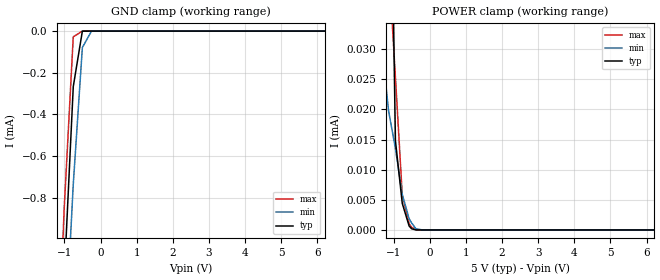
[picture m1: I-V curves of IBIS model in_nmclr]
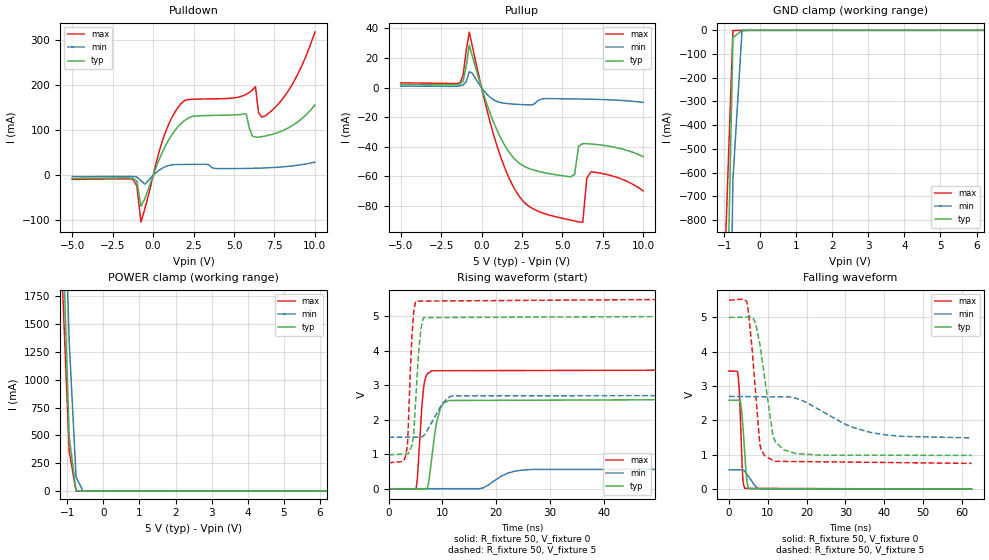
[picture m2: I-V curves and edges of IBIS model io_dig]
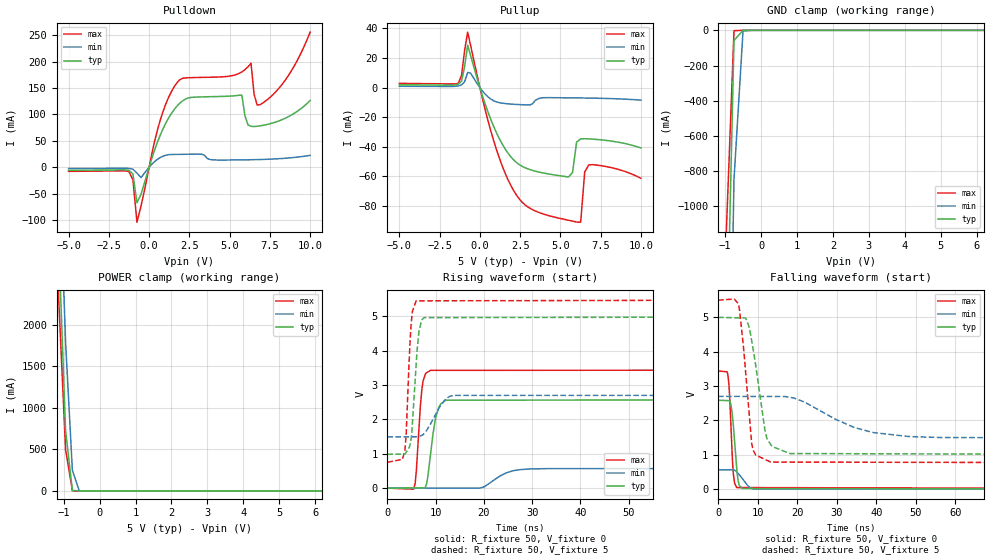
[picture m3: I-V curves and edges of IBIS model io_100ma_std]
|   Microchip Technology, Incorporated
|   PIC16F15356
[IBIS Ver]   4.2
[Date]   October 21, 2020
[File Name]   PIC16F15356_uqfn28.ibs
[File rev]   1.0
[SOURCE]   File originated at Microchip
[Notes]   The following is an IBIS list for the PIC16F15356.
|			F = Voltage Range 2.7V, 5V, 5.5V
|   -All test data contained in this file is derived
|   from hspice simulation. Simulations are made with
|   typical process model. Linear extrapolation is
|   used to get to the endpoints where spice model is
|   not well behaved. Customer should be aware that
|   accuracy is not warranted under process variation
|   and extrapolated area.
|   -The package model information is from Amkor
|			Technology
|   -Revision History
|   Version Date   Author
|   1.0   October 2020   LS
[Disclaimer]   Property of Microchip technology Incorporated.
|   Unauthorized reproduction and/or distribution is strictly
|   restricted.  All rights reserved.
|   The model provided is not warranted as fully representing
|   all of the operating characteristics and specifications
|   of all the semiconductor products related to the model.
|   Microchip does not assume any liability for the proper
|   functioning of these IBIS models in your design or for
|   any resulting application.
|   Microchip does not assume any liability for infringement
|   of patents, copyrights or intellectual property rights
|   resulting from your use of these IBIS models.
|   Microchip reserves the right to make changes without notice
|   to these IBIS models to improve reliability, function, or
|   design.
|   Please be aware that your receipt and use of the IBIS
|   information provided shall serve as acceptance of these
|   terms and conditions.  If you do not accept these terms,
|   you should return or destroy the IBIS model and any other
|   accompanying information immediately.
[Component] PIC16F15356
[manufacturer] MICROCHIP TECHNOLOGY Inc.
[Package]
R_pkg   2.7m   2.2m   3.2m
L_pkg   0.098nH  0.085nH 0.11nH
C_pkg   0.141pF 0.133pF  0.149pF
[Pin]   signal_name   model_name   R_pin   L_pin   C_pin
1   RA2   io_dig
2   RA3   io_dig
3   RA4   io_dig
4   RA5   io_dig
5   VSS   GND
6   RA7   io_dig
7   RA6   io_osc2
8   RC0   io_dig
9   RC1   io_dig
10   RC2   io_100ma
11   RC3   io_dig
12   RC4   io_dig
13   RC5   io_100ma
14   RC6   io_100ma
15   RC7   io_dig
16   VSS   GND
17   VDD   POWER
18   RB0   io_dig
19   RB1   io_dig
20   RB2   io_dig
21   RB3   io_dig
22   RB4   io_dig
23   RB5   io_dig
24   RB6   io_dig
25   RB7   io_dig
26   RE3   in_nmclr
27   RA0   io_dig
28   RA1   io_dig
|[Package Model]   There is an optional, fairly complex Package Modeling
|   section here in the file if you want it.  You will have
|   to add it yourself, because SiliconSmart has no
|   notion of packaging.  Please see the IBIS Specification
|   for details.
[Model Selector] io_100ma
| Model Description
io_100ma_std   Low Driver
io_100ma_hi   High Driver
| Models and submodels in the file (5): in_nmclr (Input), io_dig (I/O), io_100ma_std (I/O), io_100ma_hi (I/O), io_osc2 (I/O)
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[Model] in_nmclr
Model_type Input
Vinl  =  0.8
Vinh  =  2
| Capacitance   typ   min   max
C_comp   1.123517141493786e-12   1.10944024417402e-12   1.133305475694338e-12
[Model Spec]
| Subparameter   typ   min   max
Vinl   1.5   0.81   1.65
Vinh   3.6   1.89   3.85
| Variables   typ   min   max
[GND Clamp Reference]   0   0   0
[POWER Clamp Reference]   5   2.7   5.5
[Pulldown Reference]   0   0   0
[Pullup Reference]   5   2.7   5.5
[Temperature Range]   25   125   -40
[Voltage Range]   5   2.7   5.5
[GND Clamp]
| Voltage   I(typ)   I(min)   I(max)
-5V       -17.49mA   -15.61mA   -18.5mA
-1.259V   -2.211mA   -2.464mA   -1.951mA
-1.007V   -1.19mA    -1.581mA   -852.9uA
-755.2mV  -266.4uA   -734.9uA   -27.59uA
-503.4mV  -279.4nA   -79.02uA   -171.4pA
-251.7mV  -16.69pA   -143.2nA   -448fA
10V       0A         0A         0A
[POWER Clamp]
| Voltage   I(typ)   I(min)   I(max)
-5V       107.8uA    63.7uA     148.2uA
-1.517V   86.57uA    33.48uA    90.24uA
-1.328V   86.57uA    30.73uA    68.79uA
-1.138V   86.57uA    19.79uA    44.51uA
-948.3mV  14.83uA    13.52uA    25.39uA
-758.6mV  4.41uA     5.896uA    5.785uA
-569mV    652.6nA    1.865uA    1.041uA
-500mV    194.3nA    1.176uA    463.7nA
-379.3mV  10.51nA    182nA      19.59nA
-189.7mV  30.11pA    3.295nA    16.75pA
10V       0A         0A         0A
|[Package Model]   There is an optional, fairly complex Package Modeling
|   section here in the file if you want it.  You will have
|   to add it yourself, because SiliconSmart has no
|   notion of packaging.  Please see the IBIS Specification
|   for details.
[Model] io_dig
Model_type I/O
Vinl  =  0.8
Vinh  =  2
| Capacitance   typ   min   max
C_comp   2.431590901871132e-12   2.375207577545112e-12   2.664608303114855e-12
[Model Spec]
| Subparameter   typ   min   max
Vinl   1.5   0.81   1.65
Vinh   3.6   1.89   3.85
Vmeas   2.5   1.35   2.75
| Variables   typ   min   max
[GND Clamp Reference]   0   0   0
[POWER Clamp Reference]   5   2.7   5.5
[Pulldown Reference]   0   0   0
[Pullup Reference]   5   2.7   5.5
[Temperature Range]   25   125   -40
[Voltage Range]   5   2.7   5.5
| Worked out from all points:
|   slope of the pulldown table from 0 to 0.75 V, typ, clamps not added: 11.6 ohm
|   slope of the pullup table from 0 to 0.75 V, typ, clamps not added: 32.1 ohm
|   POWER clamp passes 1 mA (typ) near -0.70 V on its own axis
|   falling waveform, R_fixture 50, V_fixture 0: 20-80 % time 971ps typ, 2.16ns min, 683ps max; typ from 2.59 V to 0 V
|   falling waveform, R_fixture 50, V_fixture 5: 20-80 % time 3.04ns typ, 12.9ns min, 2.12ns max; typ from 5 V to 0.983 V
|   rising waveform, R_fixture 50, V_fixture 0: 20-80 % time 1.44ns typ, 3.54ns min, 889ps max; typ from 0 V to 2.59 V
|   rising waveform, R_fixture 50, V_fixture 5: 20-80 % time 985ps typ, 2.67ns min, 763ps max; typ from 0.983 V to 5 V
[GND Clamp]
| Voltage   I(typ)   I(min)   I(max)
-5V       -48.76A    -49.67A    -48.07A
-1.007V   -1.867A    -3.103A    -1.096A
-755.2mV  -31.55mA   -628.3mA   -1.067mA
-503.4mV  -11.31uA   -1.82mA    -7.619uA
10V       0A         0A         0A
[POWER Clamp]
| Voltage   I(typ)   I(min)   I(max)
-5V       49.58A     50.22A     48.74A
-1.138V   2.402A     3.356A     1.859A
-948.3mV  484.9mA    1.339A     354.9mA
-758.6mV  1.453mA    125.1mA    482.7uA
-569mV    4.711uA    491.7uA    11.44uA
10V       0A         0A         0A
[Pulldown]
| Voltage   I(typ)   I(min)   I(max)
-5V       -6.536mA   -2.729mA   -8.664mA
-1.259V   -5.932mA   -2.217mA   -8.15mA
-1.007V   -12.61mA   -3.63mA    -23.67mA
-755.2mV  -68.77mA   -11.28mA   -104mA
689.7mV   60.7mA     18.37mA    89.01mA
1.724V    115.4mA    24.31mA    159.6mA
5.759V    136.9mA    15.55mA    180.4mA
6.328V    85.18mA    15.98mA    197mA
6.517V    85.03mA    16.17mA    139.1mA
6.897V    87.35mA    16.65mA    131.7mA
8.603V    110.8mA    21.11mA    202.6mA
10V       156.6mA    29.44mA    318.7mA
[Pullup]
| Voltage   I(typ)   I(min)   I(max)
-5V       2.147mA    1.029mA    3.239mA
-1.328V   2.518mA    1.184mA    3.282mA
-1.138V   4.356mA    1.798mA    8.378mA
-758.6mV  28.71mA    10.77mA    37.54mA
1.034V    -30.57mA   -9.685mA   -41.96mA
2.759V    -53.85mA   -11.62mA   -78.73mA
5.503V    -60.35mA   -7.606mA   -89.55mA
5.755V    -58.63mA   -7.644mA   -90.14mA
6.259V    -37.82mA   -7.732mA   -90.98mA
6.51V     -37.87mA   -7.783mA   -61.24mA
6.762V    -38.1mA    -7.844mA   -56.98mA
10V       -46.67mA   -9.972mA   -69.85mA
[Ramp]
dV/dt_r   1.55205/1.44181n  0.337955/3.54282n  2.06452/0.889156n
dV/dt_f   2.4102/3.03942n  0.723905/12.9067n  2.84974/2.11598n
R_load = 50
[Falling Waveform]
R_fixture = 50
V_fixture = 0
V_fixture_min = 0
V_fixture_max = 0
| Time   V(typ)   V(min)   V(max)
0s        2.587V     563.3mV    3.441V
2.408ns   2.587V     563mV      3.246V
2.788ns   2.578V     562.9mV    2.52V
3.376ns   2.09V      562.9mV    681.7mV
3.735ns   1.583V     553.3mV    125.7mV
4.088ns   984.5mV    507.9mV    23.74mV
4.648ns   207.5mV    424.3mV    23.51mV
5.234ns   13.38mV    336.8mV    23.27mV
8.057ns   12.72mV    4.293mV    22.12mV
62.5ns    8.089nV    11.07uV    5.957nV
[Falling Waveform]
R_fixture = 50
V_fixture = 5
V_fixture_min = 2.7
V_fixture_max = 5.5
| Time   V(typ)   V(min)   V(max)
0s        5V         2.7V       5.5V
4.606ns   5.005V     2.695V     5.454V
5.961ns   5.006V     2.694V     4.056V
6.863ns   4.827V     2.693V     2.795V
7.905ns   4.235V     2.692V     1.339V
9.146ns   3.269V     2.69V      976.1mV
11.28ns   1.576V     2.688V     840.6mV
14.09ns   1.145V     2.685V     808.4mV
36.4ns    987.2mV    1.653V     781.7mV
62.5ns    983mV      1.493V     750.4mV
[Rising Waveform]
R_fixture = 50
V_fixture = 0
V_fixture_min = 0
V_fixture_max = 0
| Time   V(typ)   V(min)   V(max)
0s        -63.1pV    1.334nV    -73.42pV
5.103ns   -6.167mV   102.8uV    -13.44mV
6.465ns   -7.812mV   130.2uV    2.876V
7.262ns   53.42mV    146.2uV    3.337V
8.052ns   936.1mV    162.1uV    3.421V
8.922ns   1.935V     179.6uV    3.421V
9.669ns   2.353V     194.7uV    3.421V
11.11ns   2.558V     223.6uV    3.422V
24.74ns   2.566V     539mV      3.427V
62.5ns    2.587V     563.3mV    3.441V
[Rising Waveform]
R_fixture = 50
V_fixture = 5
V_fixture_min = 2.7
V_fixture_max = 5.5
| Time   V(typ)   V(min)   V(max)
0s        983mV      1.491V     750.4mV
2.729ns   1.004V     1.494V     789.2mV
3.485ns   1.01V      1.495V     1.223V
4.335ns   1.258V     1.497V     4.413V
4.666ns   1.586V     1.497V     5.113V
5.048ns   2.586V     1.497V     5.44V
5.676ns   4.12V      1.498V     5.441V
6.523ns   4.963V     1.545V     5.442V
11.96ns   4.966V     2.693V     5.447V
62.5ns    5V         2.7V       5.5V
[Model] io_100ma_std
Model_type I/O
Vinl  =  0.8
Vinh  =  2
| Capacitance   typ   min   max
C_comp   6.146428822233628e-12   5.977276312180674e-12   6.83045053567244e-12
[Model Spec]
| Subparameter   typ   min   max
Vinl   1.5   0.81   1.65
Vinh   3.6   1.89   3.85
Vmeas   2.5   1.35   2.75
| Variables   typ   min   max
[GND Clamp Reference]   0   0   0
[POWER Clamp Reference]   5   2.7   5.5
[Pulldown Reference]   0   0   0
[Pullup Reference]   5   2.7   5.5
[Temperature Range]   25   125   -40
[Voltage Range]   5   2.7   5.5
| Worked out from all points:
|   slope of the pulldown table from 0 to 0.75 V, typ, clamps not added: 11.6 ohm
|   slope of the pullup table from 0 to 0.75 V, typ, clamps not added: 32.1 ohm
|   POWER clamp passes 1 mA (typ) near -0.60 V on its own axis
|   falling waveform, R_fixture 50, V_fixture 0: 20-80 % time 1.08ns typ, 2.31ns min, 817ps max; typ from 2.59 V to 0 V
|   falling waveform, R_fixture 50, V_fixture 5: 20-80 % time 3.08ns typ, 13.4ns min, 2.19ns max; typ from 5 V to 0.983 V
|   rising waveform, R_fixture 50, V_fixture 0: 20-80 % time 1.53ns typ, 3.88ns min, 987ps max; typ from 0 V to 2.59 V
|   rising waveform, R_fixture 50, V_fixture 5: 20-80 % time 1.15ns typ, 2.97ns min, 891ps max; typ from 0.983 V to 5 V
[GND Clamp]
| Voltage   I(typ)   I(min)   I(max)
-5V       -56.79A    -57.96A    -55.96A
-1.007V   -2.262A    -3.724A    -1.349A
-755.2mV  -57.39mA   -845.6mA   -2.109mA
-503.4mV  -22.35uA   -3.596mA   -15.04uA
-251.7mV  -26.43nA   -2.572uA   -6.502nA
10V       0A         0A         0A
[POWER Clamp]
| Voltage   I(typ)   I(min)   I(max)
-5V       57.91A     58.77A     57.01A
-1.328V   5.546A     6.698A     4.833A
-1.138V   2.97A      4.139A     2.294A
-948.3mV  729.7mA    1.793A     499.1mA
-758.6mV  5.661mA    248.7mA    1.904mA
-569mV    17.98uA    1.946mA    44.06uA
10V       0A         0A         0A
[Pulldown]
| Voltage   I(typ)   I(min)   I(max)
-5V       -5.832mA   -2.425mA   -7.765mA
-1.259V   -5.843mA   -2.177mA   -8.038mA
-1.007V   -12.65mA   -3.633mA   -23.74mA
-755.2mV  -67.21mA   -11.08mA   -103.9mA
689.7mV   60.7mA     18.37mA    89.01mA
1.897V    120.8mA    24.38mA    165.4mA
5.759V    136.3mA    13.91mA    180.4mA
6.328V    77.48mA    14.19mA    196.7mA
6.517V    77mA       14.32mA    138mA
6.897V    78.36mA    14.62mA    118.4mA
8.603V    94.94mA    17.39mA    171.4mA
10V       126.3mA    22.47mA    255.6mA
[Pullup]
| Voltage   I(typ)   I(min)   I(max)
-5V       1.901mA    910.6uA    2.865mA
-1.328V   2.509mA    1.184mA    3.055mA
-1.138V   4.4mA      1.858mA    8.399mA
-758.6mV  28.57mA    10.25mA    37.49mA
1.034V    -30.57mA   -9.685mA   -41.96mA
2.759V    -53.85mA   -11.62mA   -78.73mA
5.503V    -60.35mA   -6.886mA   -89.55mA
6.007V    -36.68mA   -6.944mA   -90.76mA
6.259V    -34.64mA   -6.982mA   -90.86mA
6.51V     -34.47mA   -7.017mA   -56.94mA
6.762V    -34.6mA    -7.06mA    -52.17mA
10V       -40.73mA   -8.446mA   -61.24mA
[Ramp]
dV/dt_r   1.55205/1.525n  0.337958/3.88023n  2.06452/0.986583n
dV/dt_f   2.4102/3.08432n  0.725454/13.3946n  2.84974/2.18531n
R_load = 50
[Falling Waveform]
R_fixture = 50
V_fixture = 0
V_fixture_min = 0
V_fixture_max = 0
| Time   V(typ)   V(min)   V(max)
0s        2.587V     563.3mV    3.441V
2.513ns   2.577V     562.6mV    3.308V
2.927ns   2.575V     562.5mV    2.732V
3.654ns   2.12V      562.3mV    821.1mV
3.885ns   1.843V     562.3mV    432.5mV
4.707ns   634.9mV    506.9mV    46.8mV
5.361ns   113.4mV    419.8mV    46.63mV
6.128ns   17.72mV    312.5mV    46.44mV
9.004ns   17.44mV    7.082mV    45.7mV
187.5ns   47.77nV    84.42nV    25.77nV
[Falling Waveform]
R_fixture = 50
V_fixture = 5
V_fixture_min = 2.7
V_fixture_max = 5.5
| Time   V(typ)   V(min)   V(max)
0s        5V         2.7V       5.5V
5.176ns   4.987V     2.699V     5.394V
6.979ns   4.982V     2.698V     3.409V
8.839ns   4.093V     2.698V     1.142V
11.84ns   1.733V     2.697V     868.3mV
13.31ns   1.303V     2.697V     789.4mV
18.15ns   1.037V     2.672V     788.3mV
34.49ns   1.032V     1.793V     784.7mV
48.36ns   1.027V     1.531V     781.6mV
187.5ns   983mV      1.491V     750.4mV
[Rising Waveform]
R_fixture = 50
V_fixture = 0
V_fixture_min = 0
V_fixture_max = 0
| Time   V(typ)   V(min)   V(max)
0s        -18.51pV   5.333nV    -40.6pV
5.474ns   5.786mV    909.2uV    -30.22mV
6.042ns   6.387mV    1.004mV    546.7mV
7.186ns   7.597mV    1.194mV    2.901V
8.14ns    126.2mV    1.352mV    3.357V
8.974ns   1.001V     1.491mV    3.426V
10.63ns   2.338V     1.765mV    3.426V
12.16ns   2.557V     2.02mV     3.427V
29.59ns   2.56V      558.6mV    3.428V
187.5ns   2.587V     563.3mV    3.441V
[Rising Waveform]
R_fixture = 50
V_fixture = 5
V_fixture_min = 2.7
V_fixture_max = 5.5
| Time   V(typ)   V(min)   V(max)
0s        983mV      1.491V     750.4mV
3.667ns   992.5mV    1.493V     1.115V
3.905ns   1.043V     1.493V     1.541V
4.942ns   1.428V     1.494V     4.773V
5.983ns   3.6V       1.494V     5.448V
6.559ns   4.551V     1.5V       5.448V
7.617ns   4.961V     1.585V     5.448V
12.13ns   4.962V     2.598V     5.45V
14.12ns   4.962V     2.697V     5.45V
187.5ns   5V         2.7V       5.5V
